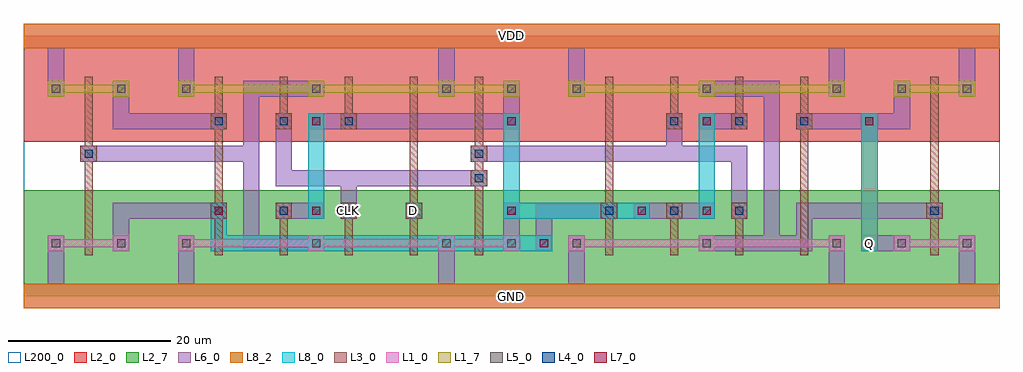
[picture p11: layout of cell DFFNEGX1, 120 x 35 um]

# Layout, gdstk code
import gdstk
lib = gdstk.Library(unit=1e-6, precision=1e-09)
def R(c, l, rs):  # rectangles x0, y0, x1, y1
    for r in rs: c.add(gdstk.rectangle(r[:2], r[2:], *l))
def A(c, l, x, y, w, h, nx, ny, dx, dy):  # array of equal rectangles
    R(c, l, [(x+i*dx, y+j*dy, x+i*dx+w, y+j*dy+h) for i in range(nx) for j in range(ny)])
def P(c, l, *ps):  # polygons
    for p in ps: c.add(gdstk.Polygon(p, *l))
L1_0 = (1, 0)
L1_7 = (1, 7)
L2_0 = (2, 0)
L2_7 = (2, 7)
L3_0 = (3, 0)
L4_0 = (4, 0)
L5_0 = (5, 0)
L6_0 = (6, 0)
L7_0 = (7, 0)
L8_0 = (8, 0)
L8_2 = (8, 2)
L200_0 = (200, 0)

dffnegx1 = lib.new_cell('DFFNEGX1')
P(dffnegx1, L1_0, [(3,5.5),(3,7.5),(5,7.5),(5,7),(11,7),(11,7.5),(13,7.5),(13,5.5),(11,5.5),(11,6),(5,6),(5,5.5)],
  [(19,5.5),(19,7.5),(21,7.5),(21,7),(35,7),(35,7.5),(37,7.5),(37,7),(51,7),(51,7.5),(53,7.5),(53,7),(59,7),(59,7.5),(61,7.5),(61,5.5),(59,5.5),(59,6),(53,6),(53,5.5),(51,5.5),(51,6),(37,6),(37,5.5),(35,5.5),(35,6),(21,6),(21,5.5)],
  [(67,5.5),(67,7.5),(69,7.5),(69,7),(83,7),(83,7.5),(85,7.5),(85,7),(99,7),(99,7.5),(101,7.5),(101,5.5),(99,5.5),(99,6),(85,6),(85,5.5),(83,5.5),(83,6),(69,6),(69,5.5)],
  [(107,5.5),(107,7.5),(109,7.5),(109,7),(115,7),(115,7.5),(117,7.5),(117,5.5),(115,5.5),(115,6),(109,6),(109,5.5)])
P(dffnegx1, L1_7, [(3,24.5),(3,26.5),(5,26.5),(5,26),(11,26),(11,26.5),(13,26.5),(13,24.5),(11,24.5),(11,25),(5,25),(5,24.5)],
  [(19,24.5),(19,26.5),(21,26.5),(21,26),(35,26),(35,26.5),(37,26.5),(37,26),(51,26),(51,26.5),(53,26.5),(53,26),(59,26),(59,26.5),(61,26.5),(61,24.5),(59,24.5),(59,25),(53,25),(53,24.5),(51,24.5),(51,25),(37,25),(37,24.5),(35,24.5),(35,25),(21,25),(21,24.5)],
  [(67,24.5),(67,26.5),(69,26.5),(69,26),(83,26),(83,26.5),(85,26.5),(85,26),(99,26),(99,26.5),(101,26.5),(101,24.5),(99,24.5),(99,25),(85,25),(85,24.5),(83,24.5),(83,25),(69,25),(69,24.5)],
  [(107,24.5),(107,26.5),(109,26.5),(109,26),(115,26),(115,26.5),(117,26.5),(117,24.5),(115,24.5),(115,25),(109,25),(109,24.5)])
R(dffnegx1, L2_0, [(0,19,120,32)])
R(dffnegx1, L2_7, [(0,0,120,13)])
P(dffnegx1, L3_0, [(31.5,5),(31.5,9.5),(31,9.5),(31,11.5),(33,11.5),(33,9.5),(32.5,9.5),(32.5,5)],
  [(39.5,5),(39.5,9.5),(39,9.5),(39,11.5),(41,11.5),(41,9.5),(40.5,9.5),(40.5,5)],
  [(79.5,5),(79.5,9.5),(79,9.5),(79,11.5),(81,11.5),(81,9.5),(80.5,9.5),(80.5,5)],
  [(87.5,5),(87.5,9.5),(87,9.5),(87,11.5),(89,11.5),(89,9.5),(88.5,9.5),(88.5,5)],
  [(7.5,5),(7.5,16.5),(7,16.5),(7,18.5),(7.5,18.5),(7.5,27),(8.5,27),(8.5,18.5),(9,18.5),(9,16.5),(8.5,16.5),(8.5,5)],
  [(23.5,5),(23.5,9.5),(23,9.5),(23,11.5),(23.5,11.5),(23.5,20.5),(23,20.5),(23,22.5),(23.5,22.5),(23.5,27),(24.5,27),(24.5,22.5),(25,22.5),(25,20.5),(24.5,20.5),(24.5,11.5),(25,11.5),(25,9.5),(24.5,9.5),(24.5,5)],
  [(31,20.5),(31,22.5),(31.5,22.5),(31.5,27),(32.5,27),(32.5,22.5),(33,22.5),(33,20.5)],
  [(39,20.5),(39,22.5),(39.5,22.5),(39.5,27),(40.5,27),(40.5,22.5),(41,22.5),(41,20.5)],
  [(47.5,5),(47.5,9.5),(47,9.5),(47,11.5),(47.5,11.5),(47.5,27),(48.5,27),(48.5,11.5),(49,11.5),(49,9.5),(48.5,9.5),(48.5,5)],
  [(55.5,5),(55.5,13.5),(55,13.5),(55,15.5),(55.5,15.5),(55.5,16.5),(55,16.5),(55,18.5),(55.5,18.5),(55.5,27),(56.5,27),(56.5,18.5),(57,18.5),(57,16.5),(56.5,16.5),(56.5,15.5),(57,15.5),(57,13.5),(56.5,13.5),(56.5,5)],
  [(71.5,5),(71.5,9.5),(71,9.5),(71,11.5),(71.5,11.5),(71.5,27),(72.5,27),(72.5,11.5),(73,11.5),(73,9.5),(72.5,9.5),(72.5,5)],
  [(79,20.5),(79,22.5),(79.5,22.5),(79.5,27),(80.5,27),(80.5,22.5),(81,22.5),(81,20.5)],
  [(87,20.5),(87,22.5),(87.5,22.5),(87.5,27),(88.5,27),(88.5,22.5),(89,22.5),(89,20.5)],
  [(95.5,5),(95.5,20.5),(95,20.5),(95,22.5),(95.5,22.5),(95.5,27),(96.5,27),(96.5,22.5),(97,22.5),(97,20.5),(96.5,20.5),(96.5,5)],
  [(111.5,5),(111.5,9.5),(111,9.5),(111,11.5),(111.5,11.5),(111.5,27),(112.5,27),(112.5,11.5),(113,11.5),(113,9.5),(112.5,9.5),(112.5,5)])
A(dffnegx1, L4_0, 23.5, 10, 1, 1, 4, 1, 8, 0)
A(dffnegx1, L4_0, 71.5, 10, 1, 1, 3, 1, 8, 0)
A(dffnegx1, L4_0, 23.5, 21, 1, 1, 3, 1, 8, 0)
A(dffnegx1, L4_0, 79.5, 21, 1, 1, 3, 1, 8, 0)
R(dffnegx1, L4_0, [(111.5,10,112.5,11), (55.5,14,56.5,15), (7.5,17,8.5,18), (55.5,17,56.5,18)])
A(dffnegx1, L5_0, 3.5, 6, 1, 1, 3, 2, 8, 19)
A(dffnegx1, L5_0, 51.5, 6, 1, 1, 3, 2, 8, 19)
A(dffnegx1, L5_0, 99.5, 6, 1, 1, 3, 2, 8, 19)
R(dffnegx1, L5_0, [(35.5,6,36.5,7), (83.5,6,84.5,7), (35.5,25,36.5,26), (83.5,25,84.5,26)])
R(dffnegx1, L6_0, [(59,5.5,61,11.5), (103,5.5,109,7.5), (31,9.5,37,11.5), (47,9.5,49,11.5), (75,9.5,85,11.5), (83,20.5,89,22.5)])
P(dffnegx1, L6_0, [(0,-1.5),(0,1.5),(3,1.5),(3,7.5),(5,7.5),(5,1.5),(19,1.5),(19,7.5),(21,7.5),(21,1.5),(51,1.5),(51,7.5),(53,7.5),(53,1.5),(67,1.5),(67,7.5),(69,7.5),(69,1.5),(99,1.5),(99,7.5),(101,7.5),(101,1.5),(115,1.5),(115,7.5),(117,7.5),(117,1.5),(120,1.5),(120,-1.5)],
  [(11,5.5),(11,11.5),(25,11.5),(25,9.5),(13,9.5),(13,5.5)],
  [(63,5.5),(63,11.5),(73,11.5),(73,9.5),(65,9.5),(65,5.5)],
  [(39,9.5),(39,13.5),(31,13.5),(31,22.5),(33,22.5),(33,15.5),(57,15.5),(57,13.5),(41,13.5),(41,9.5)],
  [(87,9.5),(87,16.5),(55,16.5),(55,18.5),(79,18.5),(79,22.5),(81,22.5),(81,18.5),(89,18.5),(89,9.5)],
  [(11,20.5),(11,26.5),(13,26.5),(13,22.5),(25,22.5),(25,20.5)],
  [(27,5.5),(27,16.5),(7,16.5),(7,18.5),(27,18.5),(27,26.5),(37,26.5),(37,24.5),(29,24.5),(29,7.5),(37,7.5),(37,5.5)],
  [(35,20.5),(35,22.5),(59,22.5),(59,26.5),(61,26.5),(61,20.5)],
  [(83,5.5),(83,7.5),(91,7.5),(91,24.5),(83,24.5),(83,26.5),(93,26.5),(93,7.5),(95,7.5),(95,11.5),(113,11.5),(113,9.5),(97,9.5),(97,5.5)],
  [(95,20.5),(95,22.5),(107,22.5),(107,26.5),(109,26.5),(109,20.5)],
  [(3,24.5),(3,30.5),(0,30.5),(0,33.5),(120,33.5),(120,30.5),(117,30.5),(117,24.5),(115,24.5),(115,30.5),(101,30.5),(101,24.5),(99,24.5),(99,30.5),(69,30.5),(69,24.5),(67,24.5),(67,30.5),(53,30.5),(53,24.5),(51,24.5),(51,30.5),(21,30.5),(21,24.5),(19,24.5),(19,30.5),(5,30.5),(5,24.5)])
A(dffnegx1, L7_0, 35.5, 21, 1, 1, 3, 1, 24, 0)
R(dffnegx1, L7_0, [(63.5,6,64.5,7), (103.5,6,104.5,7), (23.5,10,24.5,11), (35.5,10,36.5,11), (39.5,10,40.5,11), (47.5,10,48.5,11), (59.5,10,60.5,11), (75.5,10,76.5,11), (83.5,10,84.5,11), (103.5,21,104.5,22)])
R(dffnegx1, L8_0, [(103,5.5,105,22.5), (35,9.5,37,22.5), (39,9.5,41,11.5), (47,9.5,49,11.5), (83,9.5,85,22.5)])
P(dffnegx1, L8_0, [(23,5.5),(23,11.5),(25,11.5),(25,7.5),(65,7.5),(65,5.5)],
  [(59,9.5),(59,22.5),(61,22.5),(61,11.5),(77,11.5),(77,9.5)])
R(dffnegx1, L8_2, [(103,5.5,105,22.5), (39,9.5,41,11.5), (47,9.5,49,11.5)])
R(dffnegx1, L200_0, [(0,0,120,32)])
dffnegx1.add(gdstk.FlexPath([(0,32),(120,32)], 3, ends="flush", simple_path=True, layer=8, datatype=2))  # L8_2
dffnegx1.add(gdstk.FlexPath([(0,0),(120,0)], 3, ends="flush", simple_path=True, layer=8, datatype=2))  # L8_2
dffnegx1.add(gdstk.Label('GND', (60,0), layer=6, texttype=1))
dffnegx1.add(gdstk.Label('VDD', (60,32), layer=6, texttype=1))
dffnegx1.add(gdstk.Label('D', (48,10.5), layer=8, texttype=1))
dffnegx1.add(gdstk.Label('CLK', (40,10.5), layer=8, texttype=1))
dffnegx1.add(gdstk.Label('Q', (104,6.5), layer=8, texttype=1))

lib.write_gds('DFFNEGX1.gds')
